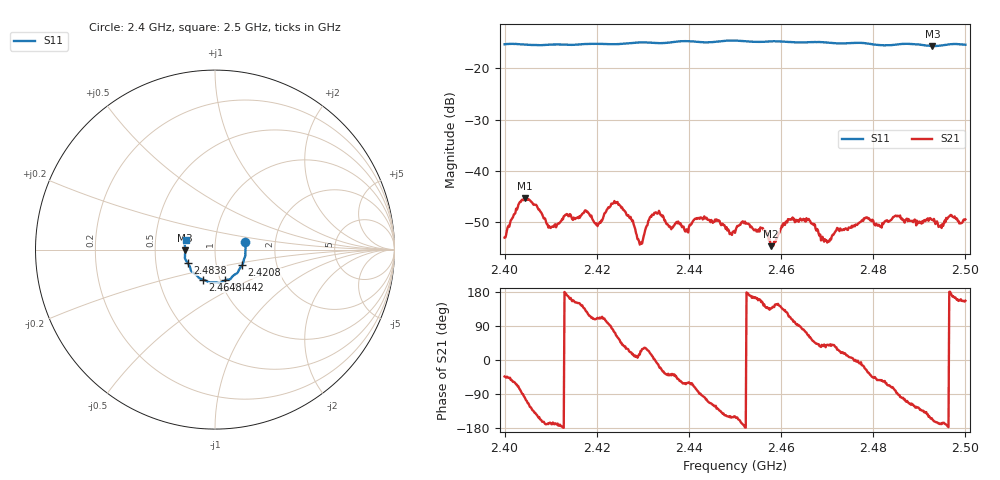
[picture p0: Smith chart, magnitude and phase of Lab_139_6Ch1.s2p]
# Hz S RI R 50
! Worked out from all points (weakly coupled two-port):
!   601 points, 2.4 GHz to 2.5 GHz, reference 50 ohm
!   highest |S21| = -45.41 dB at 2.4043 GHz (marker M1); lowest = -54.8 dB at 2.4578 GHz (marker M2)
!   lowest |S11| = -15.6 dB at 2.4928 GHz (marker M3), VSWR 1.40, Z = 35.8 - j0.357 ohm
!   |S11| at or under -10 dB: start of sweep to end of sweep
!   S12 and S22 are empty: the file has one direction only
!   S11 on the Smith chart (normalised r, x): 2.4 GHz: 1.40, +0.12; 2.4208 GHz: 1.33, -0.24; 2.4442 GHz: 1.05, -0.37; 2.4648 GHz: 0.83, -0.29; 2.4838 GHz: 0.73, -0.11; 2.5 GHz: 0.72, +0.08
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2.4e9  0.1677 0.0411  0.0016 -0.00152  0 0  0 0
2.404333e9  0.1706 0.0149  -0.000774 -0.00531  0 0  0 0
2.41e9  0.1691 -0.0277  -0.00267 -0.000634  0 0  0 0
2.416667e9  0.1589 -0.0681  -0.00295 0.00217  0 0  0 0
2.420833e9  0.1506 -0.0872  -0.00104 0.00291  0 0  0 0
2.424333e9  0.1384 -0.1042  0.00221 0.00435  0 0  0 0
2.4295e9  0.126 -0.1288  0.00176 0.000763  0 0  0 0
2.433333e9  0.108 -0.1401  0.00376 -0.000771  0 0  0 0
2.439333e9  0.084 -0.1651  0.00112 -0.00228  0 0  0 0
2.444167e9  0.0568 -0.1712  -0.00112 -0.0031  0 0  0 0
2.45e9  0.0245 -0.1863  -0.00211 -0.00126  0 0  0 0
2.456e9  -0.014 -0.1819  -0.00241 0.00132  0 0  0 0
2.457833e9  -0.0247 -0.1827  -0.00131 0.00127  0 0  0 0
2.4615e9  -0.0436 -0.1767  -0.00169 0.0029  0 0  0 0
2.464833e9  -0.0683 -0.1667  0.000541 0.00333  0 0  0 0
2.466667e9  -0.0801 -0.1626  0.00181 0.00245  0 0  0 0
2.469833e9  -0.0925 -0.1541  0.0016 0.00133  0 0  0 0
2.4785e9  -0.1356 -0.1125  0.00309 -0.00151  0 0  0 0
2.483333e9  -0.1506 -0.0762  0.00124 -0.0029  0 0  0 0
2.483833e9  -0.1532 -0.0721  0.00111 -0.00309  0 0  0 0
2.492833e9  -0.1658 -0.00485  -0.00303 -0.0013  0 0  0 0
2.5e9  -0.1626 0.0528  -0.00305 0.00134  0 0  0 0
